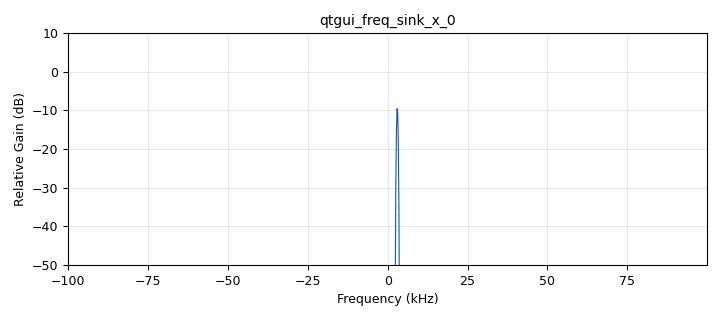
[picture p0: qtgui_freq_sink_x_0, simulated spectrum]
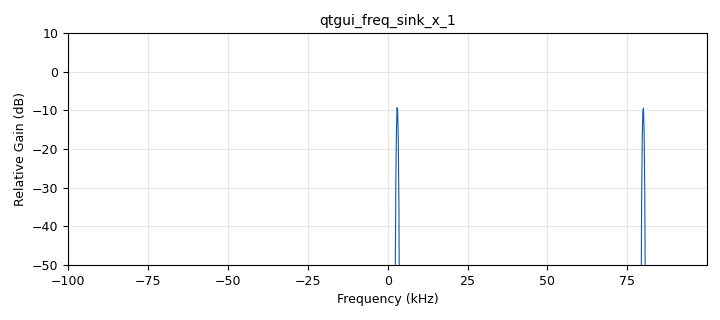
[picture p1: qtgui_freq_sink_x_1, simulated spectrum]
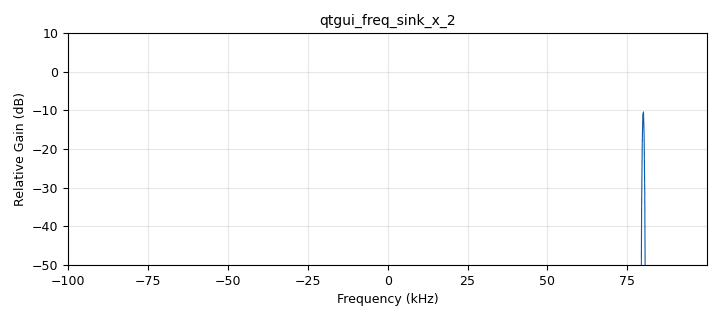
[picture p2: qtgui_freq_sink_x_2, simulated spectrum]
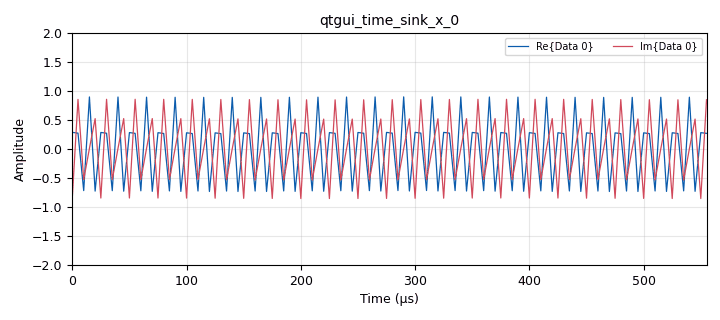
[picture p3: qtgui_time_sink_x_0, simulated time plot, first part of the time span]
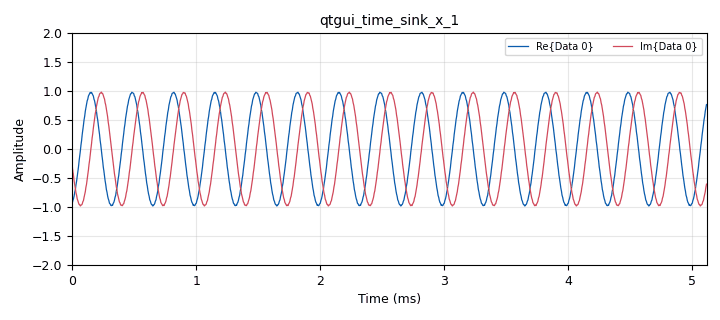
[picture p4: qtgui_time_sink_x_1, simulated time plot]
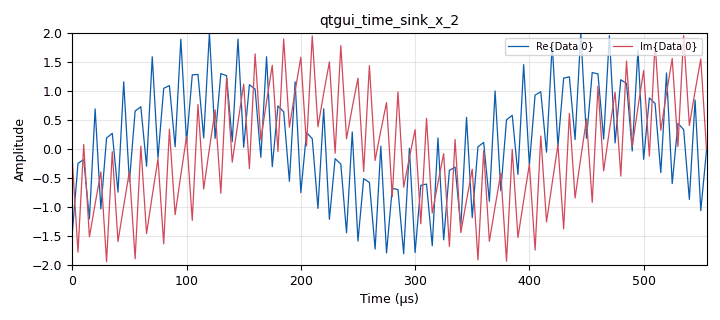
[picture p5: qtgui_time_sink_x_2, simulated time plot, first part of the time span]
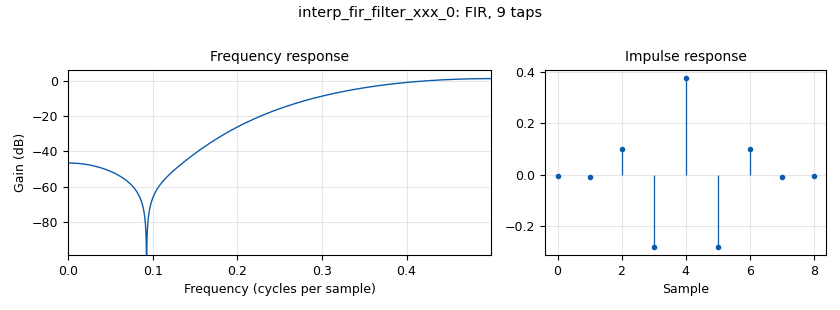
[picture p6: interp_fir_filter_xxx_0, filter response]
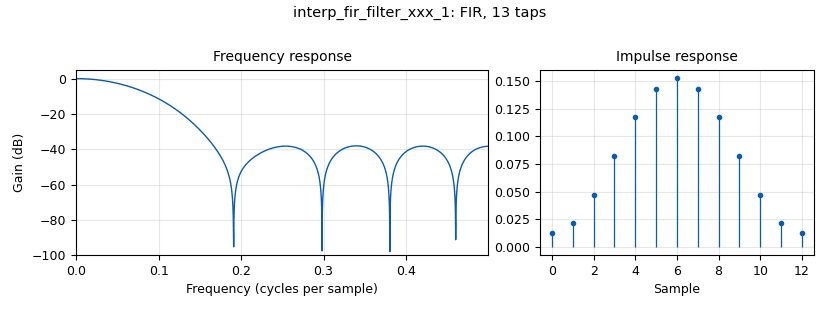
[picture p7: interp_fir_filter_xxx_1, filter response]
options:
  parameters:
    author: teste
    generate_options: qt_gui
    id: top_block
    output_language: python
    title: Not titled yet
  states: {}

blocks:
- name: samp_rate
  id: variable
  parameters:
    value: '200000'
  states: {}
- name: aba
  id: qtgui_tab_widget
  parameters:
    label0: Sinal Original
    label1: Sinal Filtrado (passa-baixa)
    label2: Sinal Filtrado (passa-alta)
    num_tabs: '3'
  states: {}
- name: analog_sig_source_x_0
  id: analog_sig_source_x
  parameters:
    amp: '1'
    freq: '3000'
    offset: '0'
    phase: '0'
    samp_rate: samp_rate
    type: complex
    waveform: analog.GR_COS_WAVE
  states: {}
- name: analog_sig_source_x_1
  id: analog_sig_source_x
  parameters:
    amp: '1'
    freq: '80000'
    offset: '0'
    phase: '0'
    samp_rate: samp_rate
    type: complex
    waveform: analog.GR_COS_WAVE
  states: {}
- name: blocks_add_xx_0
  id: blocks_add_xx
  parameters:
    type: complex
  states: {}
- name: interp_fir_filter_xxx_0
  id: interp_fir_filter_xxx
  parameters:
    interp: '1'
    taps: '[-0.004691074136644602,-0.00882631167769432,0.10246928781270981,-0.27933958172798157,0.3760925829410553,-0.27933958172798157,0.10246928781270981,-0.00882631167769432,-0.004691074136644602]'
    type: ccc
  states: {}
- name: interp_fir_filter_xxx_1
  id: interp_fir_filter_xxx
  parameters:
    interp: '1'
    taps: '[0.012135352939367294,0.02152285724878311,0.04717971757054329,0.0822787955403328,0.11742003262042999,0.14316627383232117,0.1525939404964447,0.14316627383232117,0.11742003262042999,0.0822787955403328,0.04717971757054329,0.02152285724878311,0.012135352939367294]'
    type: ccc
  states: {}
- name: qtgui_freq_sink_x_0
  id: qtgui_freq_sink_x
  parameters:
    bw: samp_rate
    fc: '0'
    fftsize: '1024'
    gui_hint: aba@1:1,1
    type: complex
    ymin: '-50'
  states: {}
- name: qtgui_freq_sink_x_1
  id: qtgui_freq_sink_x
  parameters:
    bw: samp_rate
    fc: '0'
    fftsize: '1024'
    gui_hint: aba@0:1,1
    type: complex
    ymin: '-50'
  states: {}
- name: qtgui_freq_sink_x_2
  id: qtgui_freq_sink_x
  parameters:
    bw: samp_rate
    fc: '0'
    fftsize: '1024'
    gui_hint: aba@2:1,1
    type: complex
    ymin: '-50'
  states: {}
- name: qtgui_time_sink_x_0
  id: qtgui_time_sink_x
  parameters:
    gui_hint: aba@2:1,0
    size: '1024'
    srate: samp_rate
    type: complex
    ymax: '2'
    ymin: '-2'
  states: {}
- name: qtgui_time_sink_x_1
  id: qtgui_time_sink_x
  parameters:
    gui_hint: aba@1:1,0
    size: '1024'
    srate: samp_rate
    type: complex
    ymax: '2'
    ymin: '-2'
  states: {}
- name: qtgui_time_sink_x_2
  id: qtgui_time_sink_x
  parameters:
    gui_hint: aba@0:1,0
    size: '1024'
    srate: samp_rate
    type: complex
    ymax: '2'
    ymin: '-2'
  states: {}

connections:
- [analog_sig_source_x_0, '0', blocks_add_xx_0, '0']
- [analog_sig_source_x_1, '0', blocks_add_xx_0, '1']
- [blocks_add_xx_0, '0', interp_fir_filter_xxx_0, '0']
- [blocks_add_xx_0, '0', interp_fir_filter_xxx_1, '0']
- [blocks_add_xx_0, '0', qtgui_freq_sink_x_1, '0']
- [blocks_add_xx_0, '0', qtgui_time_sink_x_2, '0']
- [interp_fir_filter_xxx_0, '0', qtgui_freq_sink_x_2, '0']
- [interp_fir_filter_xxx_0, '0', qtgui_time_sink_x_0, '0']
- [interp_fir_filter_xxx_1, '0', qtgui_freq_sink_x_0, '0']
- [interp_fir_filter_xxx_1, '0', qtgui_time_sink_x_1, '0']

metadata:
  file_format: 1
